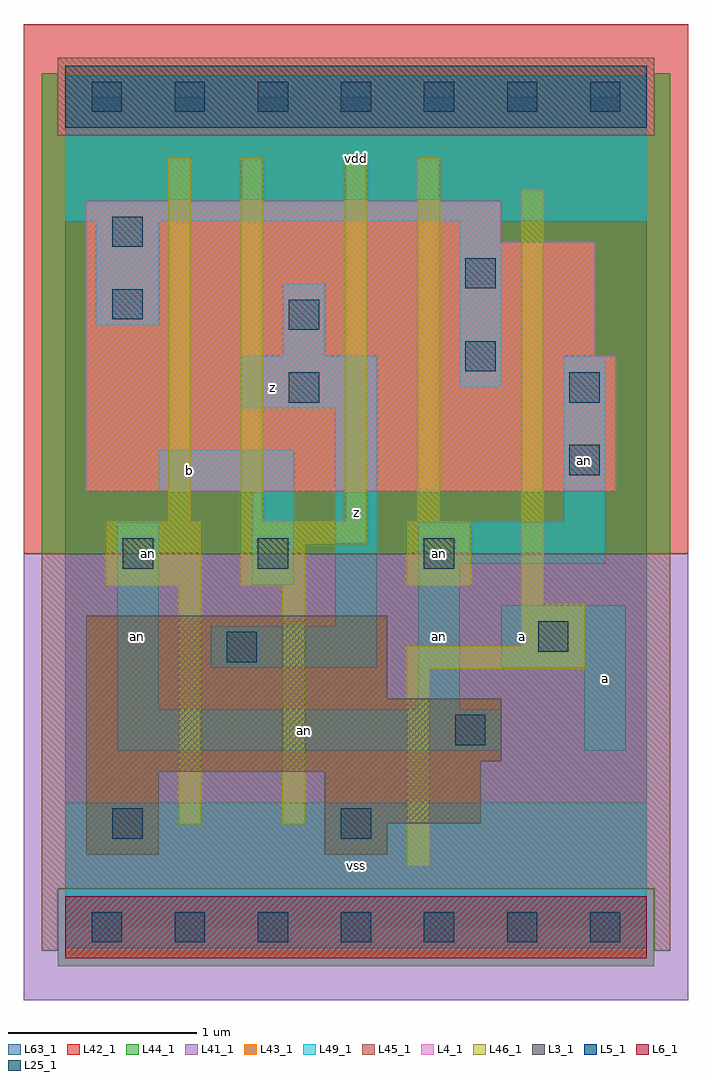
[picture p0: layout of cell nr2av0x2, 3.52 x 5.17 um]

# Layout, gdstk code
import gdstk
lib = gdstk.Library(unit=1e-6, precision=1e-09)
def R(c, l, rs):  # rectangles x0, y0, x1, y1
    for r in rs: c.add(gdstk.rectangle(r[:2], r[2:], *l))
def A(c, l, x, y, w, h, nx, ny, dx, dy):  # array of equal rectangles
    R(c, l, [(x+i*dx, y+j*dy, x+i*dx+w, y+j*dy+h) for i in range(nx) for j in range(ny)])
L3_1 = (3, 1)
L4_1 = (4, 1)
L5_1 = (5, 1)
L6_1 = (6, 1)
L25_1 = (25, 1)
L41_1 = (41, 1)
L42_1 = (42, 1)
L43_1 = (43, 1)
L44_1 = (44, 1)
L45_1 = (45, 1)
L46_1 = (46, 1)
L49_1 = (49, 1)
L63_1 = (63, 1)

nr2av0x2 = lib.new_cell('nr2av0x2')
R(nr2av0x2, L3_1, [(0.11,0.385,0.495,0.825), (1.375,0.385,1.705,0.55), (1.375,0.55,2.2,0.825), (0.11,0.825,2.2,0.88), (0.11,0.88,2.31,1.21), (0.11,1.21,1.705,1.65)])
R(nr2av0x2, L4_1, [(0.11,2.31,2.915,3.025), (0.11,3.025,2.805,3.63), (0.11,3.63,2.31,3.85)])
R(nr2av0x2, L5_1, [(0,4.235,3.08,4.565)])
R(nr2av0x2, L6_1, [(0,-0.165,3.08,0.165)])
A(nr2av0x2, L25_1, 0.14, -0.08, 0.16, 0.16, 7, 2, 0.44, 4.4)
R(nr2av0x2, L25_1, [(0.25,0.47,0.41,0.63), (1.46,0.47,1.62,0.63), (2.065,0.965,2.225,1.125), (0.855,1.405,1.015,1.565), (2.505,1.46,2.665,1.62), (0.305,1.9,0.465,2.06), (1.02,1.9,1.18,2.06), (1.9,1.9,2.06,2.06), (2.67,2.395,2.83,2.555), (1.185,2.78,1.345,2.94), (2.67,2.78,2.83,2.94), (2.12,2.945,2.28,3.105), (1.185,3.165,1.345,3.325), (0.25,3.22,0.41,3.38), (2.12,3.385,2.28,3.545), (0.25,3.605,0.41,3.765)])
R(nr2av0x2, L41_1, [(-0.22,-0.385,3.3,1.98)])
R(nr2av0x2, L42_1, [(-0.22,1.98,3.3,4.785)])
R(nr2av0x2, L43_1, [(0,-0.165,3.08,0.165), (0.11,0.385,0.495,0.825), (1.375,0.385,1.705,0.55), (1.375,0.55,2.2,0.825), (0.11,0.825,2.2,0.88), (0.11,0.88,2.31,1.21), (0.11,1.21,1.705,1.65), (0.11,2.31,2.915,3.025), (0.11,3.025,2.805,3.63), (0.11,3.63,2.31,3.85), (0,4.235,3.08,4.565)])
R(nr2av0x2, L44_1, [(-0.04,-0.205,3.12,0.205), (-0.125,1.98,3.205,4.195), (-0.125,4.195,-0.04,4.525), (3.12,4.195,3.205,4.525)])
R(nr2av0x2, L45_1, [(-0.125,-0.125,-0.04,0.205), (3.12,-0.125,3.205,0.205), (-0.125,0.205,3.205,1.98), (-0.04,4.195,3.12,4.605)])
R(nr2av0x2, L46_1, [(1.81,0.325,1.93,1.37), (0.6,0.545,0.72,1.81), (1.15,0.545,1.27,1.81), (1.81,1.37,2.755,1.49), (2.415,1.49,2.755,1.71), (2.415,1.71,2.535,3.91), (0.215,1.81,0.72,2.15), (0.93,1.81,1.27,2.03), (1.81,1.81,2.15,2.15), (0.93,2.03,1.6,2.15), (0.545,2.15,0.665,4.075), (0.93,2.15,1.05,4.075), (1.48,2.15,1.6,4.075), (1.865,2.15,1.985,4.075)])
R(nr2av0x2, L49_1, [(0,-0.11,3.08,0.66), (0.275,0.935,2.31,1.155), (2.75,0.935,2.97,1.375), (0.275,1.155,0.495,2.145), (1.87,1.155,2.09,1.925), (0.77,1.375,1.65,1.595), (2.31,1.375,2.97,1.705), (1.43,1.595,1.65,2.75), (0.99,1.815,1.21,2.31), (1.87,1.925,2.86,2.145), (2.64,2.145,2.86,3.025), (0.495,2.31,1.21,2.53), (0.935,2.75,1.65,3.025), (2.09,2.86,2.31,3.74), (1.155,3.025,1.375,3.41), (0.165,3.19,0.495,3.74), (0,3.74,3.08,4.51)])
R(nr2av0x2, L63_1, [(0,0,3.08,4.4)])
nr2av0x2.add(gdstk.Label('an', (0.44,1.98), layer=49, texttype=1))
nr2av0x2.add(gdstk.Label('an', (1.98,1.98), layer=49, texttype=1))
nr2av0x2.add(gdstk.Label('an', (0.385,1.54), layer=49, texttype=1))
nr2av0x2.add(gdstk.Label('b', (0.66,2.42), layer=49, texttype=1))
nr2av0x2.add(gdstk.Label('z', (1.1,2.86), layer=49, texttype=1))
nr2av0x2.add(gdstk.Label('vss', (1.54,0.33), layer=49, texttype=1))
nr2av0x2.add(gdstk.Label('an', (1.98,1.54), layer=49, texttype=1))
nr2av0x2.add(gdstk.Label('an', (1.265,1.045), layer=49, texttype=1))
nr2av0x2.add(gdstk.Label('z', (1.54,2.2), layer=49, texttype=1))
nr2av0x2.add(gdstk.Label('vdd', (1.54,4.07), layer=49, texttype=1))
nr2av0x2.add(gdstk.Label('a', (2.42,1.54), layer=49, texttype=1))
nr2av0x2.add(gdstk.Label('a', (2.86,1.32), layer=49, texttype=1))
nr2av0x2.add(gdstk.Label('an', (2.75,2.475), layer=49, texttype=1))

lib.write_gds('nr2av0x2.gds')
